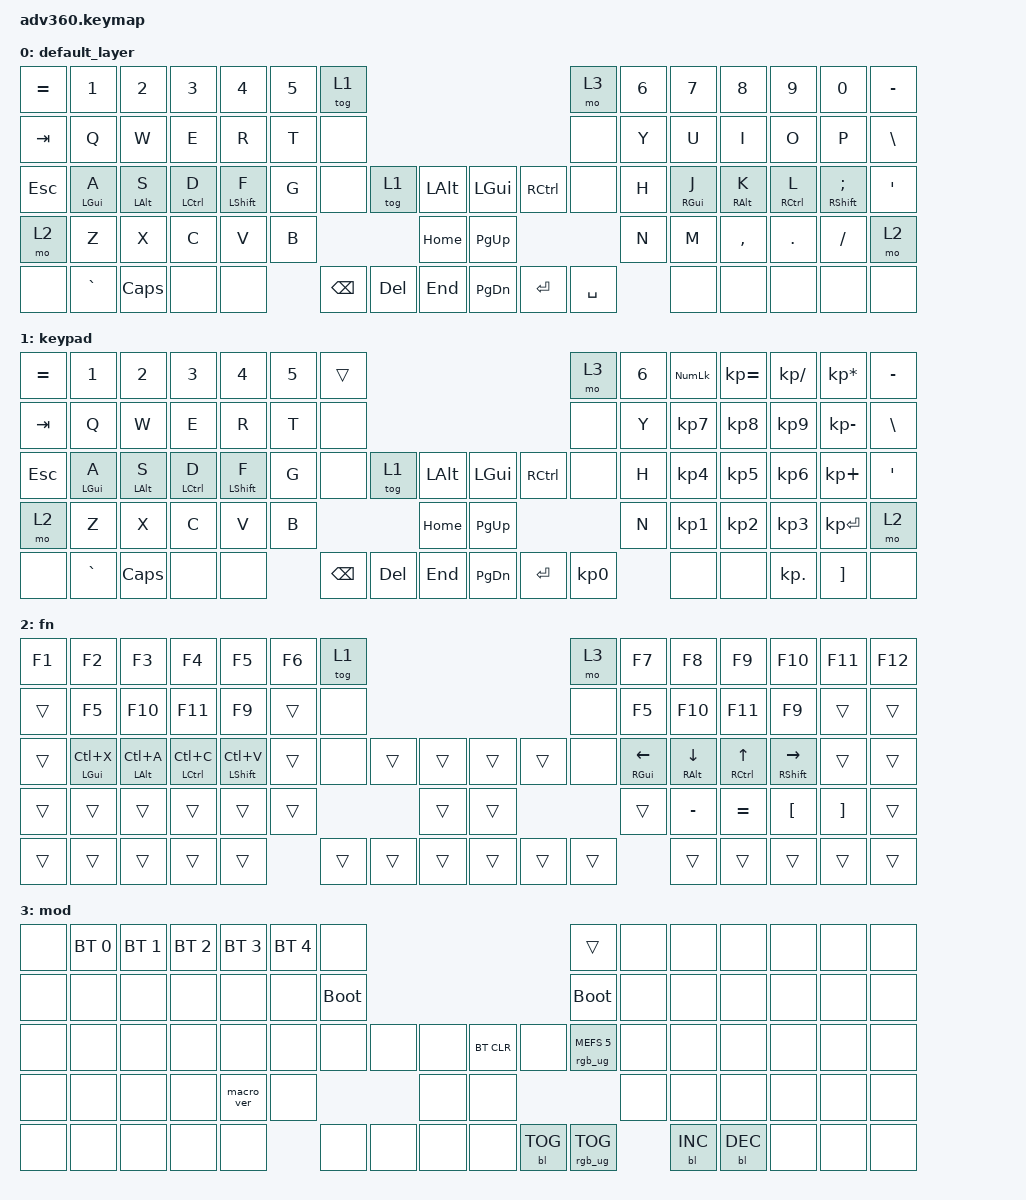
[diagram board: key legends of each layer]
#include <behaviors.dtsi>
#include <dt-bindings/zmk/backlight.h>
#include <dt-bindings/zmk/bt.h>
#include <dt-bindings/zmk/keys.h>
#include <dt-bindings/zmk/rgb.h>

/ {
    behaviors {
        #include "macros.dtsi"
      #include "version.dtsi"
      #ifndef VERSION_MACRO


        #endif

        hm: homerow_mods {
            compatible = "zmk,behavior-hold-tap";
            label = "HOMEROW_MODS";
            #binding-cells = <2>;
            tapping-term-ms = <200>;
            quick_tap_ms = <175>;
            flavor = "tap-preferred";
            bindings = <&kp>, <&kp>;
        };

        hrm_L: hrm_L {
            compatible = "zmk,behavior-hold-tap";
            label = "HRM_L";
            bindings = <&kp>, <&kp>;

            #binding-cells = <2>;
            tapping-term-ms = <280>;
            flavor = "balanced";
            require-prior-idle-ms = <150>;
            quick-tap-ms = <175>;
            hold-trigger-on-release;
            hold-trigger-key-positions = <7 8 9 10 11 12 13 21 22 23 24 25 26 27 38 39 40 41 42 43 44 45 54 55 56 57 58 59 68 69 70 71 72 73 74 75 37 53>;
        };

        hrm_R: hrm_R {
            compatible = "zmk,behavior-hold-tap";
            label = "HRM_R";
            #binding-cells = <2>;
            tapping-term-ms = <280>;
            quick-tap-ms = <175>;
            require-prior-idle-ms = <150>;
            flavor = "balanced";
            hold-trigger-on-release;
            bindings = <&kp>, <&kp>;

            hold-trigger-key-positions = <0 1 2 3 4 5 6 14 15 16 17 18 19 20 28 29 30 31 32 33 34 35 36 46 47 48 49 50 51 52 60 61 62 63 64 65 66 67>;
        };
    };

    keymap {
        compatible = "zmk,keymap";

        default_layer {
            bindings = <
&kp EQUAL  &kp N1         &kp N2         &kp N3          &kp N4          &kp N5  &tog 1                                                 &mo 3      &kp N6  &kp N7         &kp N8         &kp N9          &kp N0             &kp MINUS
&kp TAB    &kp Q          &kp W          &kp E           &kp R           &kp T   &none                                                  &none      &kp Y   &kp U          &kp I          &kp O           &kp P              &kp BSLH
&kp ESC    &hrm_L LGUI A  &hrm_L LALT S  &hrm_L LCTRL D  &hrm_L LSHFT F  &kp G   &none     &tog 1   &kp LALT      &kp LGUI   &kp RCTRL  &none      &kp H   &hrm_R RGUI J  &hrm_R RALT K  &hrm_R RCTRL L  &hrm_R RSHFT SEMI  &kp SQT
&mo 2      &kp Z          &kp X          &kp C           &kp V           &kp B                      &kp HOME      &kp PG_UP                        &kp N   &kp M          &kp COMMA      &kp DOT         &kp FSLH           &mo 2
&none      &kp GRAVE      &kp CAPS       &none           &none                   &kp BSPC  &kp DEL  &kp END       &kp PG_DN  &kp ENTER  &kp SPACE          &none          &none          &none           &none              &none
            >;
        };

        keypad {
            bindings = <
&kp EQUAL  &kp N1         &kp N2         &kp N3          &kp N4          &kp N5  &trans                                                 &mo 3      &kp N6  &kp KP_NUM  &kp KP_EQUAL  &kp KP_DIVIDE  &kp KP_MULTIPLY  &kp MINUS
&kp TAB    &kp Q          &kp W          &kp E           &kp R           &kp T   &none                                                  &none      &kp Y   &kp KP_N7   &kp KP_N8     &kp KP_N9      &kp KP_MINUS     &kp BSLH
&kp ESC    &hrm_L LGUI A  &hrm_L LALT S  &hrm_L LCTRL D  &hrm_L LSHFT F  &kp G   &none     &tog 1   &kp LALT      &kp LGUI   &kp RCTRL  &none      &kp H   &kp KP_N4   &kp KP_N5     &kp KP_N6      &kp KP_PLUS      &kp SQT
&mo 2      &kp Z          &kp X          &kp C           &kp V           &kp B                      &kp HOME      &kp PG_UP                        &kp N   &kp KP_N1   &kp KP_N2     &kp KP_N3      &kp KP_ENTER     &mo 2
&none      &kp GRAVE      &kp CAPS       &none           &none                   &kp BSPC  &kp DEL  &kp END       &kp PG_DN  &kp ENTER  &kp KP_N0          &none       &none         &kp KP_DOT     &kp RBKT         &none
            >;
        };

        fn {
            bindings = <
&kp F1  &kp F2                 &kp F3             &kp F4                     &kp F5                   &kp F6  &tog 1                                      &mo 3   &kp F7                       &kp F8                       &kp F9                 &kp F10                         &kp F11            &kp F12
&trans  &kp F5                 &kp F10            &kp F11                    &kp F9                   &trans  &none                                       &none   &kp F5                       &kp F10                      &kp F11                &kp F9                          &trans             &trans
&trans  &hrm_L LEFT_GUI LC(X)  &hrm_L LALT LC(A)  &hrm_L LEFT_CONTROL LC(C)  &hrm_L LEFT_SHIFT LC(V)  &trans  &none   &trans  &trans      &trans  &trans  &none   &hrm_R RIGHT_GUI LEFT_ARROW  &hrm_R RIGHT_ALT DOWN_ARROW  &hrm_R RCTRL UP_ARROW  &hrm_R RIGHT_SHIFT RIGHT_ARROW  &trans             &trans
&trans  &trans                 &trans             &trans                     &trans                   &trans                  &trans      &trans                  &trans                       &kp MINUS                    &kp EQUAL              &kp LEFT_BRACKET                &kp RIGHT_BRACKET  &trans
&trans  &trans                 &trans             &trans                     &trans                           &trans  &trans  &trans      &trans  &trans  &trans                               &trans                       &trans                 &trans                          &trans             &trans
            >;
        };

        mod {
            bindings = <
&none  &bt BT_SEL 0  &bt BT_SEL 1  &bt BT_SEL 2  &bt BT_SEL 3  &bt BT_SEL 4  &none                                                  &trans                  &none  &none       &none       &none  &none  &none
&none  &none         &none         &none         &none         &none         &bootloader                                            &bootloader             &none  &none       &none       &none  &none  &none
&none  &none         &none         &none         &none         &none         &none        &none  &none      &bt BT_CLR  &none       &rgb_ug RGB_MEFS_CMD 5  &none  &none       &none       &none  &none  &none
&none  &none         &none         &none         &macro_ver    &none                             &none      &none                                           &none  &none       &none       &none  &none  &none
&none  &none         &none         &none         &none                       &none        &none  &none      &none       &bl BL_TOG  &rgb_ug RGB_TOG                &bl BL_INC  &bl BL_DEC  &none  &none  &none
            >;
        };
    };
};
